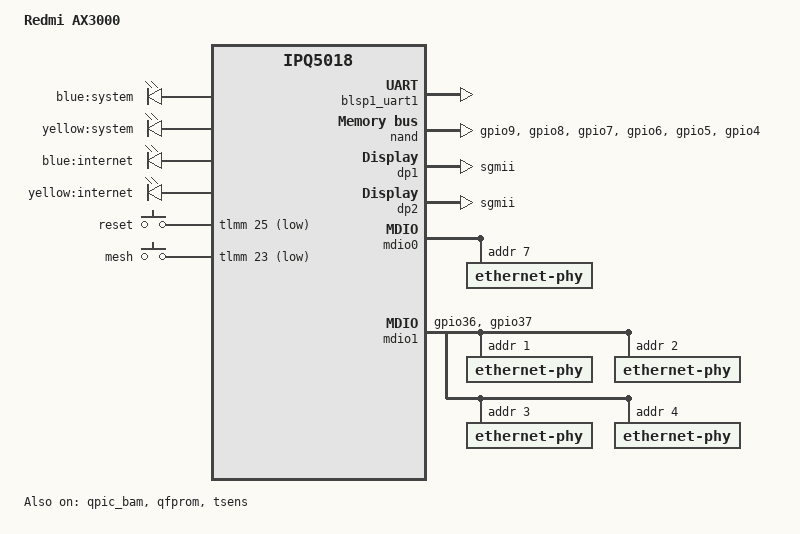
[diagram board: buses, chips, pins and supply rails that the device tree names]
// SPDX-License-Identifier: (GPL-2.0+)

/dts-v1/;

#include "qcom-ipq5018.dtsi"

/ {
	model = "Redmi AX3000";
	compatible = "redmi,ax3000", "xiaomi,cr8806", "xiaomi,cr8808", "qcom,ipq5018";

	#address-cells = <2>;
	#size-cells = <2>;
	interrupt-parent = <&intc>;

	aliases {
		ethernet0 = "/soc/dp1";
		ethernet1 = "/soc/dp2";

		led-boot = &led_system_blue;
		led-failsafe = &led_system_yellow;
		led-running = &led_system_blue;
		led-upgrade = &led_system_yellow;
	};

	reserved-memory {
		q6_etr_region: q6_etr_dump@4D200000 {
			no-map;
			reg = <0x0 0x4D200000 0x0 0x100000>;
		};
	};

	thermal-zones {
		status = "ok";
	};
};

&qgic_msi_0 {
	status = "ok";
};

&qgic_msi_1 {
	status = "ok";
};

&tlmm {
	pinctrl-0 = <&blsp0_uart_pins>;
	pinctrl-names = "default";

	blsp0_uart_pins: blsp0_uart_pins {
		rx {
			pins = "gpio28";
			function = "blsp0_uart1";
			drive-strength = <8>;
			input-enable;
			bias-disable;
			bias-pull-up;
		};

		tx {
			pins = "gpio29";
			function = "blsp0_uart1";
			drive-strength = <8>;
			bias-disable;
			output-high;
			bias-pull-up;
		};
	};

	qspi_nand_pins: qspi_nand_pins {
		clock {
			pins = "gpio9";
			function = "qspi_clk";
			drive-strength = <8>;
			bias-disable;
		};
		
		cs {
			pins = "gpio8";
			function = "qspi_cs";
			drive-strength = <8>;
			bias-disable;
		};

		data0 {
			pins = "gpio7";
			function = "qspi0";
			drive-strength = <8>;
			bias-disable;
		};

		data1 {
			pins = "gpio6";
			function = "qspi1";
			drive-strength = <8>;
			bias-disable;
		};

		data2 {
			pins = "gpio5";
			function = "qspi2";
			drive-strength = <8>;
			bias-disable;
		};

		data3 {
			pins = "gpio4";
			function = "qspi3";
			drive-strength = <8>;
			bias-disable;
		};
	};

	mdio1_pins: mdio1_pins {
		mdc {
			pins = "gpio36";
			function = "mdc";
			drive-strength = <8>;
			bias-pull-up;
		};

		mdio {
			pins = "gpio37";
			function = "mdio";
			drive-strength = <8>;
			bias-pull-up;
		};
	};

	leds_pins: leds_pins {
		led_system_blue {
			pins = "gpio19";
			function = "gpio";
			drive-strength = <8>;
			bias-pull-down;
		};

		led_system_yellow {
			pins = "gpio17";
			function = "gpio";
			drive-strength = <8>;
			bias-pull-down;
		};

		led_internet_blue {
			pins = "gpio22";
			function = "gpio";
			drive-strength = <8>;
			bias-pull-down;
		};

		led_internet_yellow {
			pins = "gpio20";
			function = "gpio";
			drive-strength = <8>;
			bias-pull-down;
		};
	};

	button_pins: button_pins {
		button_reset {
			pins = "gpio25";
			function = "gpio";
			drive-strength = <8>;
			bias-pull-up;
		};

		button_mesh {
			pins = "gpio23";
			function = "gpio";
			drive-strength = <8>;
			bias-pull-up;
		};
	};
};

&blsp1_uart1 {
	status = "ok";
};

&qpic_bam {
	status = "ok";
};

&nand {
	pinctrl-0 = <&qspi_nand_pins>;
	pinctrl-names = "default";
	status = "ok";
};

&qfprom {
	status = "ok";
};

&tsens {
	status = "ok";
};

&soc {
	leds {
		compatible = "gpio-leds";
		pinctrl-0 = <&leds_pins>;
		pinctrl-names = "default";

		led_system_blue: led_system_blue {
			label = "blue:system";
			gpio = <&tlmm 19 GPIO_ACTIVE_HIGH>;
			default-state = "on";
		};

		led_system_yellow: led_system_yellow {
			label = "yellow:system";
			gpio = <&tlmm 17 GPIO_ACTIVE_HIGH>;
		};

		led_internet_blue: led_internet_blue {
			label = "blue:internet";
			gpio = <&tlmm 22 GPIO_ACTIVE_HIGH>;
		};

		led_internet_yellow: led_internet_yellow {
			label = "yellow:internet";
			gpio = <&tlmm 20 GPIO_ACTIVE_HIGH>;
		};
	};

	button {
		compatible = "gpio-keys";
		pinctrl-0 = <&button_pins>;
		pinctrl-names = "default";

		button_reset {
			label = "reset";
			gpios = <&tlmm 25 GPIO_ACTIVE_LOW>;
			linux,input-type = <EV_KEY>;
			linux,code = <KEY_RESTART>;
			debounce-interval = <60>;
		};

		button_mesh {
			label = "mesh";
			gpios = <&tlmm 23 GPIO_ACTIVE_LOW>;
			linux,input-type = <EV_KEY>;
			linux,code = <BTN_9>;
			debounce-interval = <60>;
		};
	};

	ess-instance {
		num_devices = <2>;

		ess-switch@0x39c00000 {
			compatible = "qcom,ess-switch-ipq50xx";
			device_id = <0>;

			cmnblk_clk = "internal_96MHz";

			// mac mode for uniphy instance
			// switch_mac_mode = <0xc>; // PORT_WRAPPER_SGMII_PLUS
			switch_mac_mode = <0xf>; // PORT_WRAPPER_SGMII_CHANNEL0

			qcom,port_phyinfo {
				port@0 {
					mdiobus = <&mdio0>;

					port_id = <1>;
					phy_address = <7>;

					phy_dac = <0x10 0x10>;
				};

				port@1 {
					port_id = <2>;

					forced-speed = <1000>;
					forced-duplex = <1>;
				};
			};
		};

		ess-switch1@1 {
			compatible = "qcom,ess-switch-qca83xx";
			device_id = <1>;

			reset_gpio = <26>;

			switch_access_mode = "mdio";
			mdio-bus = <&mdio1>;

			qca,ar8327-initvals = <
					0x0004 0x07600000  // PAD0_MODE
					0x0008 0x01000000  // PAD5_MODE
					0x000c 0x00000080  // PAD6_MODE
					0x0010 0x002613a0  // PWS_REG
					0x00e4 0x000aa545  // MAC_POWER_SEL
					0x00e0 0xc74164de  // SGMII_CTRL
					0x007c 0x0000004e  // PORT0_STATUS
					0x0094 0x0000004e  // PORT6_STATUS
			>;

			switch_cpu_bmp = <0x60>;  // CPU port bitmap: 5 6
			switch_lan_bmp = <0x0e>;  // LAN port bitmap: 1 2 3
			switch_wan_bmp = <0x10>;  // WAN port bitmap: 4

			qcom,port_phyinfo {
				port@1 {
					port_id = <2>;
					phy_address = <1>;
				};

				port@2 {
					port_id = <3>;
					phy_address = <2>;
				};

				port@3 {
					port_id = <4>;
					phy_address = <3>;
				};

				port@4 {
					port_id = <5>;
					phy_address = <4>;
				};
			};
		};
	};

	dp1 {
		compatible = "qcom,nss-dp";
		device_type = "network";
		qcom,id = <1>;
	
		reg = <0x39C00000 0x10000>;
		interrupts = <GIC_SPI 101 IRQ_TYPE_LEVEL_HIGH>;
		clocks = <&gcc GCC_SNOC_GMAC0_AXI_CLK>;
		clock-names = "nss-snoc-gmac-axi-clk";

		mdio-bus = <&mdio0>;
		qcom,phy-mdio-addr = <7>;
		phy-mode = "sgmii";
		qcom,mactype = <2>; // GMAC_HAL_TYPE_SYN_GMAC
		qcom,link-poll = <1>;
		local-mac-address = [000000000000];
	};

	dp2 {
		compatible = "qcom,nss-dp";
		device_type = "network";
		qcom,id = <2>;
	
		reg = <0x39D00000 0x10000>;
		interrupts = <GIC_SPI 109 IRQ_TYPE_LEVEL_HIGH>;
		clocks = <&gcc GCC_SNOC_GMAC1_AXI_CLK>;
		clock-names = "nss-snoc-gmac-axi-clk";
	
		// mdio-bus = <&mdio1>;
		// qcom,phy-mdio-addr = <4>;
		phy-mode = "sgmii";
		qcom,mactype = <2>; // GMAC_HAL_TYPE_SYN_GMAC
		// qcom,link-poll = <1>;
		local-mac-address = [000000000000];
	};
};

&mdio0 {
	status = "ok";

	ethernet-phy@0 {
		reg = <7>;
	};
};

&mdio1 {
	pinctrl-0 = <&mdio1_pins>;
	pinctrl-names = "default";
	phy-reset-gpio = <&tlmm 26 0>;
	status = "ok";

	ethernet-phy@1 {
		reg = <1>;
	};

	ethernet-phy@2 {
		reg = <2>;
	};

	ethernet-phy@3 {
		reg = <3>;
	};

	ethernet-phy@4 {
		reg = <4>;
	};
};
